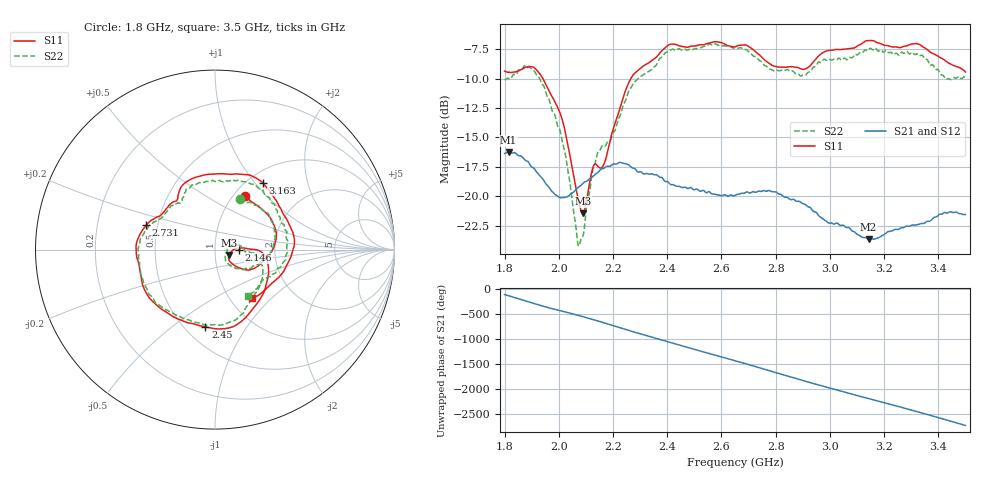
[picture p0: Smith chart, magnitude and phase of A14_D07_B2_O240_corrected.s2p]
! Created with skrf 1.9.0 (http://scikit-rf.org).
# Hz S RI R 50.0
!freq ReS11 ImS11 ReS21 ImS21 ReS12 ImS12 ReS22 ImS22
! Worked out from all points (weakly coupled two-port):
!   1601 points, 1.8 GHz to 3.5 GHz, reference 50 ohm
!   highest |S21| = -16.28 dB at 1.815 GHz (marker M1); lowest = -23.7 dB at 3.143 GHz (marker M2)
!   lowest |S11| = -21.4 dB at 2.089 GHz (marker M3), VSWR 1.19, Z = 58.5 - j3.58 ohm
!   |S11| at or under -10 dB: 1.942 GHz to 2.266 GHz (324.1 MHz wide, 15.4 % of centre)
!   |S22| runs from -24.3 to -7.0 dB; largest |S21 - S12| = 0.0029
!   S11 on the Smith chart (normalised r, x): 1.8 GHz: 1.13, +0.76; 2.146 GHz: 1.31, -0.00; 2.45 GHz: 0.63, -0.67; 2.731 GHz: 0.43, +0.14; 3.163 GHz: 1.16, +1.10; 3.5 GHz: 1.26, -0.76
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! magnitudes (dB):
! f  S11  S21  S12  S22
! 1.8 GHz  -9.4  -16.4  -16.4  -10.0
! 1.815 GHz  -9.5  -16.3  -16.3  -10.0
! 1.881 GHz  -9.0  -17.0  -17.0  -9.1
! 1.943 GHz  -10.1  -18.6  -18.6  -10.6
! 2.013 GHz  -13.5  -20.1  -20.1  -15.3
! 2.069 GHz  -20.0  -19.3  -19.3  -23.9
! 2.084 GHz  -21.3  -19.0  -19.0  -23.5
! 2.089 GHz  -21.4  -18.9  -19.0  -23.4
! 2.125 GHz  -17.6  -18.3  -18.3  -17.8
! 2.146 GHz  -17.5  -17.9  -17.9  -16.2
! 2.169 GHz  -17.1  -17.6  -17.6  -15.7
! 2.264 GHz  -10.1  -17.5  -17.5  -10.8
! 2.367 GHz  -8.0  -18.3  -18.3  -8.5
! 2.45 GHz  -7.2  -19.2  -19.2  -7.5
! 2.65 GHz  -7.3  -19.9  -19.9  -7.4
! 2.731 GHz  -7.8  -19.6  -19.7  -8.2
! 2.934 GHz  -8.7  -21.2  -21.1  -9.2
! 3.143 GHz  -6.8  -23.7  -23.6  -7.5
! 3.163 GHz  -6.8  -23.7  -23.6  -7.5
! 3.217 GHz  -7.2  -23.0  -23.0  -7.8
! 3.326 GHz  -7.0  -22.4  -22.4  -7.9
! 3.5 GHz  -9.4  -21.6  -21.6  -9.9
